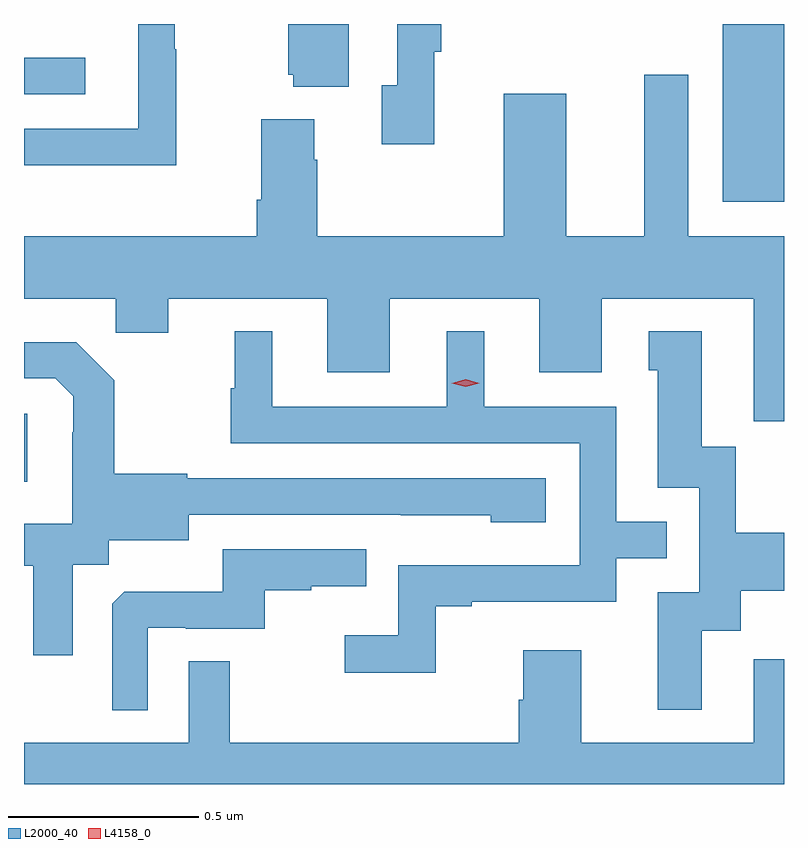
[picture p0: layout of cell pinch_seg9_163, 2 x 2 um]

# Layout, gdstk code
import gdstk
lib = gdstk.Library(unit=1e-6, precision=1e-09)
def R(c, l, rs):  # rectangles x0, y0, x1, y1
    for r in rs: c.add(gdstk.rectangle(r[:2], r[2:], *l))
def P(c, l, *ps):  # polygons
    for p in ps: c.add(gdstk.Polygon(p, *l))
L2000_40 = (2000, 40)
L4158_0 = (4158, 0)

pinch_seg9_163 = lib.new_cell('pinch_seg9_163')
R(pinch_seg9_163, L2000_40, [(715.193,1211.922,715.201,1212.102), (717.032,1212.659,717.193,1213.127), (715.193,1212.942,715.354,1213.038)])
P(pinch_seg9_163, L2000_40, [(715.593,1213.061),(715.59,1213.061),(715.59,1213.127),(715.494,1213.127),(715.494,1212.852),(715.193,1212.852),(715.193,1212.755),(715.593,1212.755)],
  [(716.273,1213.054),(716.291,1213.054),(716.291,1213.127),(716.175,1213.127),(716.175,1212.966),(716.135,1212.966),(716.135,1212.81),(716.273,1212.81)],
  [(716.047,1213.127),(715.889,1213.127),(715.889,1212.993),(715.901,1212.993),(715.901,1212.962),(716.047,1212.962)],
  [(717.193,1212.568),(716.941,1212.568),(716.941,1212.994),(716.825,1212.994),(716.825,1212.568),(716.62,1212.568),(716.62,1212.943),(716.456,1212.943),(716.456,1212.568),(715.965,1212.568),(715.965,1212.77),(715.957,1212.77),(715.957,1212.877),(715.817,1212.877),(715.817,1212.664),(715.805,1212.664),(715.805,1212.568),(715.193,1212.568),(715.193,1212.404),(715.435,1212.404),(715.435,1212.314),(715.573,1212.314),(715.573,1212.404),(715.991,1212.404),(715.991,1212.21),(716.155,1212.21),(716.155,1212.404),(716.549,1212.404),(716.549,1212.21),(716.713,1212.21),(716.713,1212.404),(717.113,1212.404),(717.113,1212.193),(717.114,1212.193),(717.114,1212.081),(717.193,1212.081)],
  [(716.977,1211.53),(717.079,1211.53),(717.079,1211.636),(717.193,1211.636),(717.193,1211.788),(717.066,1211.788),(717.066,1212.015),(716.977,1212.015),(716.977,1212.319),(716.837,1212.319),(716.837,1212.216),(716.861,1212.216),(716.861,1211.907),(716.97,1211.907),(716.97,1211.631),(716.861,1211.631),(716.861,1211.322),(716.977,1211.322)],
  [(716.277,1211.595),(716.371,1211.595),(716.371,1211.607),(716.751,1211.607),(716.751,1211.721),(716.885,1211.721),(716.885,1211.817),(716.751,1211.817),(716.751,1212.12),(716.404,1212.12),(716.404,1212.319),(716.306,1212.319),(716.306,1212.12),(715.846,1212.12),(715.846,1212.319),(715.748,1212.319),(715.748,1212.168),(715.737,1212.168),(715.737,1212.024),(716.655,1212.024),(716.655,1211.703),(716.178,1211.703),(716.178,1211.518),(716.037,1211.518),(716.037,1211.42),(716.277,1211.42)],
  [(715.321,1211.704),(715.416,1211.704),(715.416,1211.768),(715.627,1211.768),(715.627,1211.835),(716.185,1211.835),(716.185,1211.834),(716.421,1211.834),(716.421,1211.816),(716.566,1211.816),(716.566,1211.931),(715.623,1211.931),(715.623,1211.944),(715.431,1211.944),(715.431,1212.189),(715.331,1212.289),(715.193,1212.289),(715.193,1212.195),(715.275,1212.195),(715.322,1212.148),(715.322,1212.053),(715.32,1212.053),(715.32,1211.812),(715.193,1211.812),(715.193,1211.702),(715.217,1211.702),(715.217,1211.466),(715.321,1211.466)],
  [(715.518,1211.538),(715.618,1211.538),(715.618,1211.535),(715.826,1211.535),(715.826,1211.637),(715.949,1211.637),(715.949,1211.648),(716.093,1211.648),(716.093,1211.745),(715.716,1211.745),(715.716,1211.633),(715.457,1211.633),(715.425,1211.601),(715.425,1211.321),(715.518,1211.321)],
  [(717.193,1211.455),(717.113,1211.455),(717.113,1211.236),(716.659,1211.236),(716.659,1211.479),(716.507,1211.479),(716.507,1211.349),(716.495,1211.349),(716.495,1211.236),(715.735,1211.236),(715.735,1211.45),(715.626,1211.45),(715.626,1211.236),(715.193,1211.236),(715.193,1211.127),(717.193,1211.127)])
P(pinch_seg9_163, L4158_0, [(716.355,1212.172),(716.319,1212.182),(716.319,1212.182),(716.319,1212.182),(716.355,1212.192),(716.391,1212.182),(716.391,1212.182),(716.391,1212.182)])

lib.write_gds('pinch_seg9_163.gds')
